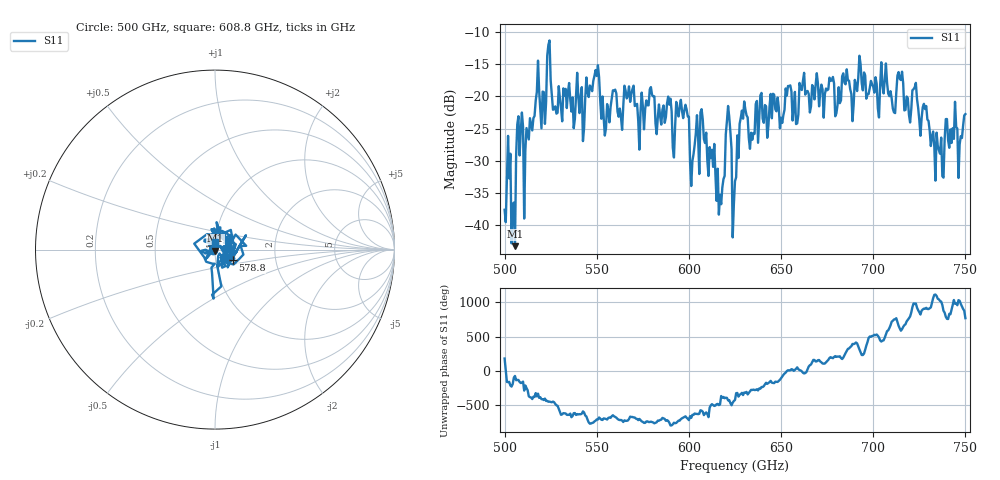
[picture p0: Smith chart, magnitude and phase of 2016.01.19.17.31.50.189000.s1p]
!Created with skrf (http://scikit-rf.org).
# GHz S RI R 50.0
!freq ReS11 ImS11
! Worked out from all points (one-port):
!   401 points, 500 GHz to 750 GHz, reference 50 ohm
!   lowest |S11| = -43.3 dB at 505.6 GHz (marker M1), VSWR 1.01, Z = 50.2 - j0.665 ohm
!   |S11| at or under -10 dB: start of sweep to end of sweep
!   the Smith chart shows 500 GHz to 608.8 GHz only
!   S11 on the Smith chart (normalised r, x): 500 GHz: 0.97, +0.00; 578.8 GHz: 1.21, -0.14; 608.8 GHz: 0.99, +0.09
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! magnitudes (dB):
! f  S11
! 500 GHz  -37.6
! 505.6 GHz  -43.3
! 508.1 GHz  -29.2
! 511.9 GHz  -24.9
! 523.8 GHz  -12.0
! 531.2 GHz  -23.9
! 541.9 GHz  -18.5
! 550 GHz  -16.8
! 553.8 GHz  -23.3
! 562.5 GHz  -21.9
! 578.8 GHz  -18.9
! 593.8 GHz  -22.2
! 598.8 GHz  -22.0
! 601.9 GHz  -30.1
! 608.8 GHz  -27.2
! 617.5 GHz  -36.8
! 621.2 GHz  -21.5
! 625 GHz  -33.2
! 629.4 GHz  -23.4
! 633.8 GHz  -25.6
! 656.2 GHz  -23.7
! 687.5 GHz  -18.9
! 711.2 GHz  -22.5
! 714.4 GHz  -17.3
! 718.8 GHz  -20.2
! 722.5 GHz  -18.6
! 736.9 GHz  -26.4
! 750 GHz  -22.7
